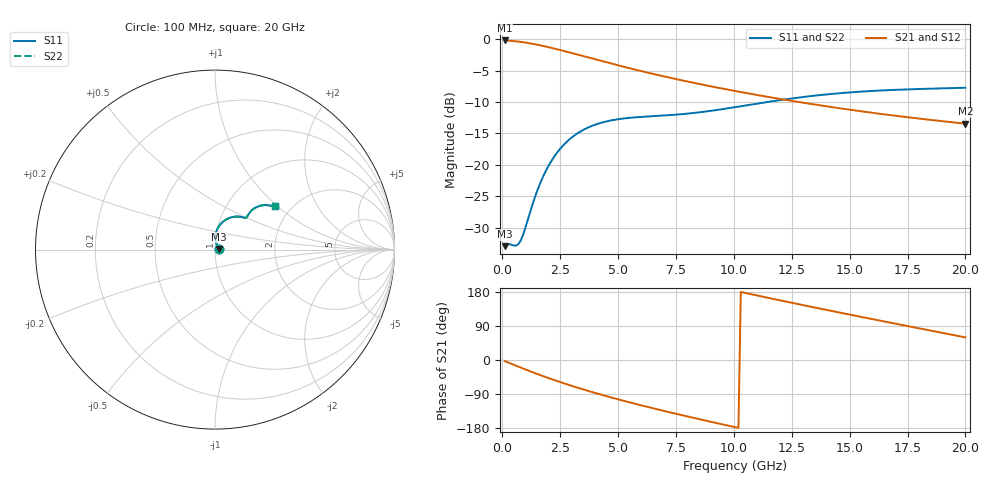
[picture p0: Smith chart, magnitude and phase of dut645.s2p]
! Touchstone file exported from HFSS 2024.1.0
!  File:  C:/UserFiles/LocalFiles/RDL_TSV_Batchsim/temp_RDL_TSV_645_1779807777.aedt
!  Generated:  11:20:29 PM May 26, 2026
!  Design:  RDL_TSV
!  Project:  temp_RDL_TSV_645_1779807777
!  Setup:  Setup1
!  Solution:  Sweep
! Variables:
!  dtsv = 11.64um
!  hbump = 3um
!  htsv = 90.67um
!  ldown = 668.22um
!  lrdl = 561.96um
!  p = 40
!  p1 = 48.89um
!  rhole = 10um
!  subl = 4252.5um
!  t = 450um
!  tdown = 4.49um
!  trdl = 4.44um
!  viad = 10um
!  wdown = 28.99um
!  wrdl = 10.75um
!  xbump = 18um
# GHz S MA R 50.000000
! Terminal data exported
! Port[1] = TM1_1_T1
! Port[2] = TM1_4_T1
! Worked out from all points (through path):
!   200 points, 100 MHz to 20 GHz, reference 50 ohm
!   highest |S21| = -0.20 dB at 100 MHz (marker M1); lowest = -13.4 dB at 20 GHz (marker M2)
!   group delay of S21, straight-line fit = 39.5 ps
!   lowest |S11| = -33.0 dB at 100 MHz (marker M3), VSWR 1.05, Z = 52.3 + j0.298 ohm
!   |S11| at or under -10 dB: start of sweep to 11.45 GHz
!   |S22| runs from -33.0 to -7.7 dB; largest |S21 - S12| = 5.7e-15
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0.1  0.02251 7.3  0.9771 -2.6  0.9771 -2.6  0.02251 7.3
! Gamma 0 0 0 0
! Port Impedance 50 0 50 0
0.3  0.02329 17.8  0.9725 -7.7  0.9725 -7.7  0.0233 17.8
0.6  0.02275 38.7  0.9617 -15.2  0.9617 -15.2  0.02276 38.6
0.8  0.02506 58.0  0.9519 -20.1  0.9519 -20.1  0.02507 57.9
1  0.03165 74.0  0.9402 -25.0  0.9402 -25.0  0.03164 73.9
1.3  0.04802 86.0  0.9197 -32.1  0.9197 -32.1  0.04796 85.9
1.7  0.07597 88.5  0.8885 -41.2  0.8885 -41.2  0.07586 88.4
2.1  0.1057 85.3  0.8548 -49.9  0.8548 -49.9  0.1055 85.2
2.5  0.1341 80.2  0.8199 -58.3  0.8199 -58.3  0.1338 80.1
3  0.165 73.2  0.7762 -68.2  0.7762 -68.2  0.1647 73.2
3.5  0.1898 66.7  0.7337 -77.7  0.7337 -77.7  0.1893 66.7
4.3  0.2169 58.1  0.6701 -92.0  0.6701 -92.0  0.2163 58.0
5.1  0.232 51.8  0.6132 -105.4  0.6132 -105.4  0.2313 51.8
5.9  0.24 48.0  0.5632 -118.1  0.5632 -118.1  0.2391 47.9
6.8  0.2457 45.9  0.5145 -131.7  0.5145 -131.7  0.2448 45.9
8.3  0.259 45.9  0.4479 -153.2  0.4479 -153.2  0.2581 46.0
10.1  0.2884 46.9  0.3856 -177.8  0.3856 -177.8  0.2877 47.0
11.7  0.3214 46.2  0.3416 161.2  0.3416 161.2  0.3208 46.2
13.4  0.3537 43.8  0.3037 139.6  0.3037 139.6  0.3533 43.9
15  0.377 41.1  0.2747 119.8  0.2747 119.8  0.3765 41.2
16.7  0.3933 38.6  0.2494 99.2  0.2494 99.2  0.3929 38.6
20  0.4106 35.9  0.2126 59.7  0.2126 59.7  0.4103 35.9
